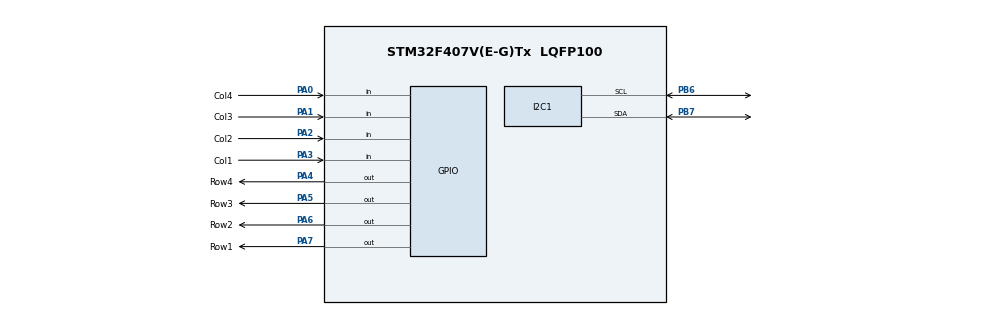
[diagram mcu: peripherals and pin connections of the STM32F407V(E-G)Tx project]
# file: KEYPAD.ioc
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Mcu.Family=STM32F4
Mcu.Name=STM32F407V(E-G)Tx
Mcu.Package=LQFP100
NVIC.PriorityGroup=NVIC_PRIORITYGROUP_4
NVIC.TIM1_UP_TIM10_IRQn=true\:15\:0\:false\:false\:true\:false\:true\:true
NVIC.TimeBase=TIM1_UP_TIM10_IRQn
NVIC.TimeBaseIP=TIM1
PA0-WKUP.GPIO_Label=Col4
PA0-WKUP.GPIO_PuPd=GPIO_PULLUP
PA0-WKUP.Signal=GPIO_Input
PA1.GPIO_Label=Col3
PA1.GPIO_PuPd=GPIO_PULLUP
PA1.Signal=GPIO_Input
PA13.Mode=Serial_Wire
PA13.Signal=SYS_JTMS-SWDIO
PA14.Mode=Serial_Wire
PA14.Signal=SYS_JTCK-SWCLK
PA2.GPIO_Label=Col2
PA2.GPIO_PuPd=GPIO_PULLUP
PA2.Signal=GPIO_Input
PA3.GPIO_Label=Col1
PA3.GPIO_PuPd=GPIO_PULLUP
PA3.Signal=GPIO_Input
PA4.GPIO_Label=Row4
PA4.GPIO_PuPd=GPIO_PULLUP
PA4.Signal=GPIO_Output
PA5.GPIO_Label=Row3
PA5.GPIO_PuPd=GPIO_PULLUP
PA5.Signal=GPIO_Output
PA6.GPIO_Label=Row2
PA6.GPIO_PuPd=GPIO_PULLUP
PA6.Signal=GPIO_Output
PA7.GPIO_Label=Row1
PA7.GPIO_PuPd=GPIO_PULLUP
PA7.Signal=GPIO_Output
PB6.Mode=I2C
PB6.Signal=I2C1_SCL
PB7.Mode=I2C
PB7.Signal=I2C1_SDA
PH0-OSC_IN.Mode=HSE-External-Oscillator
PH0-OSC_IN.Signal=RCC_OSC_IN
PH1-OSC_OUT.Mode=HSE-External-Oscillator
PH1-OSC_OUT.Signal=RCC_OSC_OUT
ProjectManager.HeapSize=0x200
ProjectManager.StackSize=0x400
ProjectManager.TargetToolchain=STM32CubeIDE
RCC.48MHZClocksFreq_Value=36000000
RCC.AHBFreq_Value=72000000
RCC.APB1CLKDivider=RCC_HCLK_DIV2
RCC.APB1Freq_Value=36000000
RCC.APB1TimFreq_Value=72000000
RCC.APB2Freq_Value=72000000
RCC.APB2TimFreq_Value=72000000
RCC.CortexFreq_Value=72000000
RCC.HCLKFreq_Value=72000000
RCC.HSE_VALUE=8000000
RCC.HSI_VALUE=16000000
RCC.LSE_VALUE=32768
RCC.PLLM=8
RCC.PLLN=72
RCC.SYSCLKFreq_VALUE=72000000
RCC.SYSCLKSource=RCC_SYSCLKSOURCE_PLLCLK
RCC.VCOOutputFreq_Value=144000000
TIM6.AutoReloadPreload=TIM_AUTORELOAD_PRELOAD_DISABLE
TIM6.Period=0xffff-1
TIM6.Prescaler=72-1
VP_SYS_VS_tim1.Mode=TIM1
VP_TIM6_VS_ClockSourceINT.Mode=Enable_Timer
board=custom

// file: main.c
/* USER CODE BEGIN Header */
/**
  ******************************************************************************
  * @file           : main.c
  * @brief          : Main program body
  ******************************************************************************
  * @attention
  *
  * Copyright (c) 2025 STMicroelectronics.
  * All rights reserved.
  *
  * This software is licensed under terms that can be found in the LICENSE file
  * in the root directory of this software component.
  * If no LICENSE file comes with this software, it is provided AS-IS.
  *
  ******************************************************************************
  */
/* USER CODE END Header */
#include "main.h"

/* USER CODE BEGIN Includes */
#include "LCD_I2C.h"
#include "KEYPAD.h"
#include "stdio.h"
/* USER CODE END Includes */

/* USER CODE BEGIN PD */
char buffer[16];
char key;
/* USER CODE END PD */

I2C_HandleTypeDef hi2c1;
TIM_HandleTypeDef htim6;

void SystemClock_Config(void);
static void MX_GPIO_Init(void);
static void MX_I2C1_Init(void);
static void MX_TIM6_Init(void);

int main(void)
{

  /* MCU Configuration--------------------------------------------------------*/

  /* Reset of all peripherals, Initializes the Flash interface and the Systick. */
  HAL_Init();

  /* Configure the system clock */
  SystemClock_Config();

  /* Initialize all configured peripherals */
  MX_GPIO_Init();
  MX_I2C1_Init();
  MX_TIM6_Init();
  /* USER CODE BEGIN 2 */
  LCD_INIT();
  KEYPAD_INIT();
  LCD_SET_CURSOR(0, 0);
  LCD_SEND_STRING(".... KEYPAD ....");
  LCD_SET_CURSOR(1, 0);
  LCD_SEND_STRING("KEY : ");
  /* USER CODE END 2 */

  /* Infinite loop */
  /* USER CODE BEGIN WHILE */
  while (1)
  {
	  key = KEYPAD_READ();
	  if (key != 0)
	  {
		  LCD_SET_CURSOR(1, 6);
		  LCD_SEND_DATA(key);
	  }
    /* USER CODE END WHILE */

  }
}
